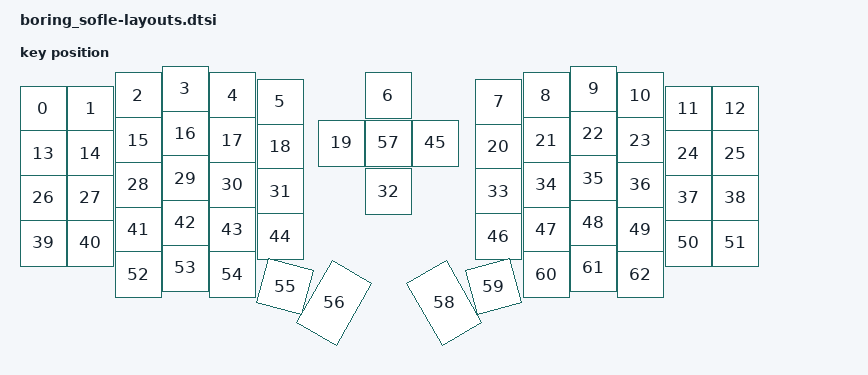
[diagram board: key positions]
// See https://zmk.dev/docs/development/hardware-integration/physical-layouts
// for how to configure this.

#include <physical_layouts.dtsi>

/ {
    default_layout: default_layout {
        compatible = "zmk,physical-layout";
        display-name = "Layout";
        transform = <&default_transform>;

        keys  //                     w   h    x    y     rot    rx    ry
            = <&key_physical_attrs 100 100    0   40       0     0     0>
            , <&key_physical_attrs 100 100   95   40       0     0     0>
            , <&key_physical_attrs 100 100  190   13       0     0     0>
            , <&key_physical_attrs 100 100  284    0       0     0     0>
            , <&key_physical_attrs 100 100  379   13       0     0     0>
            , <&key_physical_attrs 100 100  474   26       0     0     0>
            , <&key_physical_attrs 100 100  690   13       0     0     0>
            , <&key_physical_attrs 100 100  911   26       0     0     0>
            , <&key_physical_attrs 100 100 1006   13       0     0     0>
            , <&key_physical_attrs 100 100 1101    0       0     0     0>
            , <&key_physical_attrs 100 100 1195   13       0     0     0>
            , <&key_physical_attrs 100 100 1290   40       0     0     0>
            , <&key_physical_attrs 100 100 1385   40       0     0     0>
            , <&key_physical_attrs 100 100    0  129       0     0     0>
            , <&key_physical_attrs 100 100   95  129       0     0     0>
            , <&key_physical_attrs 100 100  190  103       0     0     0>
            , <&key_physical_attrs 100 100  284   90       0     0     0>
            , <&key_physical_attrs 100 100  379  103       0     0     0>
            , <&key_physical_attrs 100 100  474  116       0     0     0>
            , <&key_physical_attrs 100 100  596  108       0     0     0>
            , <&key_physical_attrs 100 100  911  116       0     0     0>
            , <&key_physical_attrs 100 100 1006  103       0     0     0>
            , <&key_physical_attrs 100 100 1101   90       0     0     0>
            , <&key_physical_attrs 100 100 1195  103       0     0     0>
            , <&key_physical_attrs 100 100 1290  129       0     0     0>
            , <&key_physical_attrs 100 100 1385  129       0     0     0>
            , <&key_physical_attrs 100 100    0  218       0     0     0>
            , <&key_physical_attrs 100 100   95  218       0     0     0>
            , <&key_physical_attrs 100 100  190  192       0     0     0>
            , <&key_physical_attrs 100 100  284  179       0     0     0>
            , <&key_physical_attrs 100 100  379  192       0     0     0>
            , <&key_physical_attrs 100 100  474  205       0     0     0>
            , <&key_physical_attrs 100 100  690  205       0     0     0>
            , <&key_physical_attrs 100 100  911  205       0     0     0>
            , <&key_physical_attrs 100 100 1006  192       0     0     0>
            , <&key_physical_attrs 100 100 1101  179       0     0     0>
            , <&key_physical_attrs 100 100 1195  192       0     0     0>
            , <&key_physical_attrs 100 100 1290  218       0     0     0>
            , <&key_physical_attrs 100 100 1385  218       0     0     0>
            , <&key_physical_attrs 100 100    0  308       0     0     0>
            , <&key_physical_attrs 100 100   95  308       0     0     0>
            , <&key_physical_attrs 100 100  190  282       0     0     0>
            , <&key_physical_attrs 100 100  284  268       0     0     0>
            , <&key_physical_attrs 100 100  379  282       0     0     0>
            , <&key_physical_attrs 100 100  474  295       0     0     0>
            , <&key_physical_attrs 100 100  785  108       0     0     0>
            , <&key_physical_attrs 100 100  911  295       0     0     0>
            , <&key_physical_attrs 100 100 1006  282       0     0     0>
            , <&key_physical_attrs 100 100 1101  268       0     0     0>
            , <&key_physical_attrs 100 100 1195  282       0     0     0>
            , <&key_physical_attrs 100 100 1290  308       0     0     0>
            , <&key_physical_attrs 100 100 1385  308       0     0     0>
            , <&key_physical_attrs 100 100  190  371       0     0     0>
            , <&key_physical_attrs 100 100  284  358       0     0     0>
            , <&key_physical_attrs 100 100  379  371       0     0     0>
            , <&key_physical_attrs 100 100  484  395    1500   534   445>
            , <&key_physical_attrs 100 150  585  404    3000   635   474>
            , <&key_physical_attrs 100 100  690  108       0     0     0>
            , <&key_physical_attrs 100 150  800  404 (-3000)   850   474>
            , <&key_physical_attrs 100 100  901  395 (-1500)   951   445>
            , <&key_physical_attrs 100 100 1006  371       0     0     0>
            , <&key_physical_attrs 100 100 1101  358       0     0     0>
            , <&key_physical_attrs 100 100 1195  371       0     0     0>
            ;
    };
};
